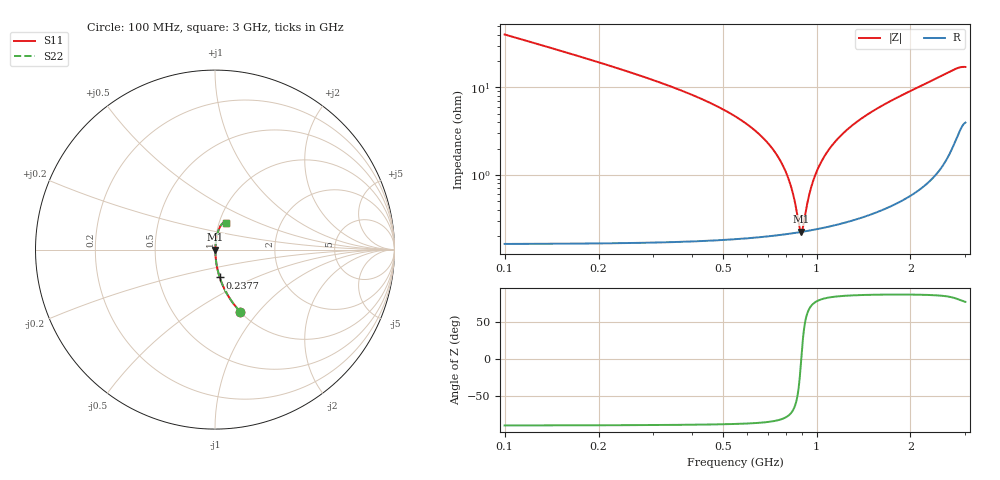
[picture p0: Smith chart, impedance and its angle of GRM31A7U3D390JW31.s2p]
!Murata Part Number: GRM31A7U3D390JW31
!These Parameters are Measured in Series Mode Connection
!Data Generated on Mar 30, 2021
!  o--ll--o
!Port1  Port2
!  o------o
!Operation Temp=25[degC], DC Bias Voltage=0[V]
!Freq. Start=100[MHz] Stop=3[GHz] 401[Steps]
# Hz S RI R 50
!Freq.(Hz) S11(Real) S11(Imag) S21(Real) S21(Imag) S12(Real) S12(Imag) S22(Real) S22(Imag)
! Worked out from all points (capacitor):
!   401 points, 100 MHz to 3 GHz, reference 50 ohm
!   read as one part in series: C = 39 pF near 114.5 MHz
!   lowest |Z| = 224 mohm at 890.2 MHz (marker M1)
!   series resonance near 893.3 MHz, so ESL is about 810 pH
!   S11 on the Smith chart (normalised r, x): 100 MHz: 1.00, -0.81; 237.8 MHz: 1.00, -0.32; 3 GHz: 1.08, +0.33
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1e8  0.1408 -0.3458  0.8592 0.3458  0.8592 0.3458  0.1408 -0.3458
1.58e8  0.0603 -0.2349  0.9397 0.2349  0.9397 0.2349  0.0603 -0.2349
2.3775e8  0.0264 -0.1552  0.9736 0.1552  0.9736 0.1552  0.0264 -0.1552
3.755e8  0.00967 -0.0888  0.9903 0.0888  0.9903 0.0888  0.00967 -0.0888
5.8575e8  0.00346 -0.0398  0.9965 0.0398  0.9965 0.0398  0.00346 -0.0398
7.0175e8  0.00248 -0.0224  0.9975 0.0224  0.9975 0.0224  0.00248 -0.0224
7.815e8  0.00223 -0.0124  0.9978 0.0124  0.9978 0.0124  0.00223 -0.0124
8.3225e8  0.00218 -0.00656  0.9978 0.00656  0.9978 0.00656  0.00218 -0.00656
8.7575e8  0.0022 -0.00184  0.9978 0.00184  0.9978 0.00184  0.0022 -0.00184
8.9025e8  0.00222 -0.00032  0.9978 0.00032  0.9978 0.00032  0.00222 -0.00032
9.0475e8  0.00224 0.00118  0.9978 -0.00118  0.9978 -0.00118  0.00224 0.00118
9.41e8  0.00231 0.00483  0.9977 -0.00483  0.9977 -0.00483  0.00231 0.00483
9.7725e8  0.00242 0.00836  0.9976 -0.00836  0.9976 -0.00836  0.00242 0.00836
1.02075e9  0.00258 0.0125  0.9974 -0.0125  0.9974 -0.0125  0.00258 0.0125
1.0715e9  0.0028 0.0171  0.9972 -0.0171  0.9972 -0.0171  0.0028 0.0171
1.15125e9  0.00324 0.024  0.9968 -0.024  0.9968 -0.024  0.00324 0.024
1.26e9  0.00399 0.0331  0.996 -0.0331  0.996 -0.0331  0.00399 0.0331
1.55e9  0.0068 0.0556  0.9932 -0.0556  0.9932 -0.0556  0.0068 0.0556
2.03575e9  0.0145 0.0919  0.9855 -0.0919  0.9855 -0.0919  0.0145 0.0919
2.5215e9  0.0296 0.1302  0.9704 -0.1302  0.9704 -0.1302  0.0296 0.1302
2.8115e9  0.0494 0.1507  0.9506 -0.1507  0.9506 -0.1507  0.0494 0.1507
3e9  0.0622 0.1504  0.9378 -0.1504  0.9378 -0.1504  0.0622 0.1504
